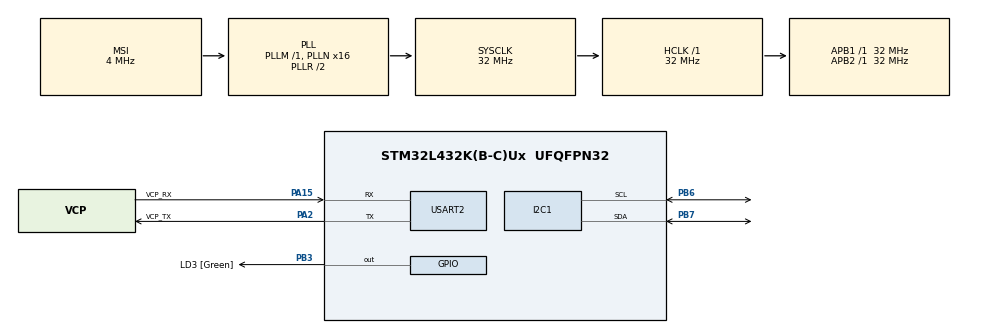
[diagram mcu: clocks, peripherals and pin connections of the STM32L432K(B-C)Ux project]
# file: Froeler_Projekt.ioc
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I2C1.Timing=0x00707CBB
Mcu.Family=STM32L4
Mcu.Name=STM32L432K(B-C)Ux
Mcu.Package=UFQFPN32
NVIC.PriorityGroup=NVIC_PRIORITYGROUP_4
PA0.GPIO_Label=MCO [High speed clock in]
PA0.Mode=HSE-External-Clock-Source-for-LittleOrca
PA0.Signal=RCC_CK_IN
PA13\ (JTMS-SWDIO).GPIO_Label=SWDIO
PA13\ (JTMS-SWDIO).Mode=Serial_Wire
PA13\ (JTMS-SWDIO).Signal=SYS_JTMS-SWDIO
PA14\ (JTCK-SWCLK).GPIO_Label=SWCLK
PA14\ (JTCK-SWCLK).Mode=Serial_Wire
PA14\ (JTCK-SWCLK).Signal=SYS_JTCK-SWCLK
PA15\ (JTDI).GPIO_Label=VCP_RX
PA15\ (JTDI).Mode=Asynchronous
PA15\ (JTDI).Signal=USART2_RX
PA2.GPIO_Label=VCP_TX
PA2.Mode=Asynchronous
PA2.Signal=USART2_TX
PB3\ (JTDO-TRACESWO).GPIO_Label=LD3 [Green]
PB3\ (JTDO-TRACESWO).Signal=GPIO_Output
PB6.Mode=I2C
PB6.Signal=I2C1_SCL
PB7.Mode=I2C
PB7.Signal=I2C1_SDA
PC14-OSC32_IN\ (PC14).Mode=LSE-External-Oscillator
PC14-OSC32_IN\ (PC14).Signal=RCC_OSC32_IN
PC15-OSC32_OUT\ (PC15).Mode=LSE-External-Oscillator
PC15-OSC32_OUT\ (PC15).Signal=RCC_OSC32_OUT
ProjectManager.HeapSize=0x200
ProjectManager.StackSize=0x400
ProjectManager.TargetToolchain=STM32CubeIDE
RCC.AHBFreq_Value=32000000
RCC.APB1Freq_Value=32000000
RCC.APB1TimFreq_Value=32000000
RCC.APB2Freq_Value=32000000
RCC.APB2TimFreq_Value=32000000
RCC.CortexFreq_Value=32000000
RCC.HCLKFreq_Value=32000000
RCC.HSE_VALUE=8000000
RCC.HSI16_VALUE=16000000
RCC.HSI48_VALUE=48000000
RCC.HSI_VALUE=16000000
RCC.MSI_VALUE=4000000
RCC.PLLMUL=RCC_PLLMUL_4
RCC.PLLN=16
RCC.SYSCLKFreq_VALUE=32000000
RCC.SYSCLKSource=RCC_SYSCLKSOURCE_PLLCLK
RCC.VCOOutputFreq_Value=64000000
USART2.VirtualMode-Asynchronous=VM_ASYNC
board=NUCLEO-L432KC

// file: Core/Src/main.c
/* USER CODE BEGIN Header */
/**
  ******************************************************************************
  * @file           : main.c
  * @brief          : Main program body
  ******************************************************************************
  * @attention
  *
  * Froeler Sarah BEL3A
  *
  * This programm retrieves the ambient temperature via I2C port from a MCP908 temperature sensor.
  * It computes all necessary calculations to convert the received data in practical decimal temperatures.
  * It sends the final temperature via UART port to the connected computer.
  * As the program is build to only measure room temperatures, negative temperatures will lead to false values.
  *
  ******************************************************************************
  */
/* USER CODE END Header */
#include "main.h"

/* USER CODE BEGIN Includes */
#include <stdio.h>
#include <string.h>
/* USER CODE END Includes */

I2C_HandleTypeDef hi2c1;

UART_HandleTypeDef huart2;

void SystemClock_Config(void);
static void MX_GPIO_Init(void);
static void MX_USART2_UART_Init(void);
static void MX_I2C1_Init(void);
/* USER CODE BEGIN PFP */
void Receive();
void Convert2Bin(uint8_t data1, uint8_t data2);
void Bin2Dez(int UpperByte[8], int LowerByte[8]);
void sendData(float temp);
/* USER CODE END PFP */

int main(void)
{

  /* MCU Configuration--------------------------------------------------------*/

  /* Reset of all peripherals, Initializes the Flash interface and the Systick. */
  HAL_Init();

  /* Configure the system clock */
  SystemClock_Config();

  /* Initialize all configured peripherals */
  MX_GPIO_Init();
  MX_USART2_UART_Init();
  MX_I2C1_Init();

  /* Infinite loop */
  while (1)
  {

    /* USER CODE BEGIN 3 */

	  Receive();

  }
  /* USER CODE END 3 */
}

void SystemClock_Config(void)
{
  RCC_OscInitTypeDef RCC_OscInitStruct = {0};
  RCC_ClkInitTypeDef RCC_ClkInitStruct = {0};

  /** Configure the main internal regulator output voltage
  */
  if (HAL_PWREx_ControlVoltageScaling(PWR_REGULATOR_VOLTAGE_SCALE1) != HAL_OK)
  {
    Error_Handler();
  }
  /** Configure LSE Drive Capability
  */
  HAL_PWR_EnableBkUpAccess();
  __HAL_RCC_LSEDRIVE_CONFIG(RCC_LSEDRIVE_LOW);
  /** Initializes the RCC Oscillators according to the specified parameters
  * in the RCC_OscInitTypeDef structure.
  */
  RCC_OscInitStruct.OscillatorType = RCC_OSCILLATORTYPE_LSE|RCC_OSCILLATORTYPE_MSI;
  RCC_OscInitStruct.LSEState = RCC_LSE_ON;
  RCC_OscInitStruct.MSIState = RCC_MSI_ON;
  RCC_OscInitStruct.MSICalibrationValue = 0;
  RCC_OscInitStruct.MSIClockRange = RCC_MSIRANGE_6;
  RCC_OscInitStruct.PLL.PLLState = RCC_PLL_ON;
  RCC_OscInitStruct.PLL.PLLSource = RCC_PLLSOURCE_MSI;
  RCC_OscInitStruct.PLL.PLLM = 1;
  RCC_OscInitStruct.PLL.PLLN = 16;
  RCC_OscInitStruct.PLL.PLLP = RCC_PLLP_DIV7;
  RCC_OscInitStruct.PLL.PLLQ = RCC_PLLQ_DIV2;
  RCC_OscInitStruct.PLL.PLLR = RCC_PLLR_DIV2;
  if (HAL_RCC_OscConfig(&RCC_OscInitStruct) != HAL_OK)
  {
    Error_Handler();
  }
  /** Initializes the CPU, AHB and APB buses clocks
  */
  RCC_ClkInitStruct.ClockType = RCC_CLOCKTYPE_HCLK|RCC_CLOCKTYPE_SYSCLK
                              |RCC_CLOCKTYPE_PCLK1|RCC_CLOCKTYPE_PCLK2;
  RCC_ClkInitStruct.SYSCLKSource = RCC_SYSCLKSOURCE_PLLCLK;
  RCC_ClkInitStruct.AHBCLKDivider = RCC_SYSCLK_DIV1;
  RCC_ClkInitStruct.APB1CLKDivider = RCC_HCLK_DIV1;
  RCC_ClkInitStruct.APB2CLKDivider = RCC_HCLK_DIV1;

  if (HAL_RCC_ClockConfig(&RCC_ClkInitStruct, FLASH_LATENCY_1) != HAL_OK)
  {
    Error_Handler();
  }
  /** Enable MSI Auto calibration
  */
  HAL_RCCEx_EnableMSIPLLMode();
}

static void MX_I2C1_Init(void)
{

  hi2c1.Instance = I2C1;
  hi2c1.Init.Timing = 0x00707CBB;
  hi2c1.Init.OwnAddress1 = 0;
  hi2c1.Init.AddressingMode = I2C_ADDRESSINGMODE_7BIT;
  hi2c1.Init.DualAddressMode = I2C_DUALADDRESS_DISABLE;
  hi2c1.Init.OwnAddress2 = 0;
  hi2c1.Init.OwnAddress2Masks = I2C_OA2_NOMASK;
  hi2c1.Init.GeneralCallMode = I2C_GENERALCALL_DISABLE;
  hi2c1.Init.NoStretchMode = I2C_NOSTRETCH_DISABLE;
  if (HAL_I2C_Init(&hi2c1) != HAL_OK)
  {
    Error_Handler();
  }
  /** Configure Analogue filter
  */
  if (HAL_I2CEx_ConfigAnalogFilter(&hi2c1, I2C_ANALOGFILTER_ENABLE) != HAL_OK)
  {
    Error_Handler();
  }
  /** Configure Digital filter
  */
  if (HAL_I2CEx_ConfigDigitalFilter(&hi2c1, 0) != HAL_OK)
  {
    Error_Handler();
  }

}

static void MX_USART2_UART_Init(void)
{

  huart2.Instance = USART2;
  huart2.Init.BaudRate = 115200;
  huart2.Init.WordLength = UART_WORDLENGTH_8B;
  huart2.Init.StopBits = UART_STOPBITS_1;
  huart2.Init.Parity = UART_PARITY_NONE;
  huart2.Init.Mode = UART_MODE_TX_RX;
  huart2.Init.HwFlowCtl = UART_HWCONTROL_NONE;
  huart2.Init.OverSampling = UART_OVERSAMPLING_16;
  huart2.Init.OneBitSampling = UART_ONE_BIT_SAMPLE_DISABLE;
  huart2.AdvancedInit.AdvFeatureInit = UART_ADVFEATURE_NO_INIT;
  if (HAL_UART_Init(&huart2) != HAL_OK)
  {
    Error_Handler();
  }

}

static void MX_GPIO_Init(void)
{
  GPIO_InitTypeDef GPIO_InitStruct = {0};

  /* GPIO Ports Clock Enable */
  __HAL_RCC_GPIOC_CLK_ENABLE();
  __HAL_RCC_GPIOA_CLK_ENABLE();
  __HAL_RCC_GPIOB_CLK_ENABLE();

  /*Configure GPIO pin Output Level */
  HAL_GPIO_WritePin(LD3_GPIO_Port, LD3_Pin, GPIO_PIN_RESET);

  /*Configure GPIO pin : LD3_Pin */
  GPIO_InitStruct.Pin = LD3_Pin;
  GPIO_InitStruct.Mode = GPIO_MODE_OUTPUT_PP;
  GPIO_InitStruct.Pull = GPIO_NOPULL;
  GPIO_InitStruct.Speed = GPIO_SPEED_FREQ_LOW;
  HAL_GPIO_Init(LD3_GPIO_Port, &GPIO_InitStruct);

}

/* USER CODE BEGIN 4 */

/**
  * @brief  Receives the data from the I2C port. 0x18 is the register for the temperature.
  * 		Calls the net function Convert2Bin.
  * @param  None
  * @retval None
  */
 void Receive()
 {
	 HAL_StatusTypeDef ret;
	 uint8_t data[2] = {0, 0};
	 uint8_t *pData = NULL;
	 uint8_t IDRegAdress = 05;
	 pData = &IDRegAdress;

	 ret = HAL_I2C_Master_Transmit(&hi2c1, 0x18<<1, pData, 1, 200000);

	 ret =  HAL_I2C_Master_Receive(&hi2c1, 0x18<<1, &data[0], 2, 200000);

	 if(ret != HAL_OK)
		 Error_Handler();

	 Convert2Bin(data[0], data[1]);
 }

 /**
   * @brief  Converts the received data to a Binary code.
   * 		 Calls the next function Bin2Dez.
   * @param  data1: Contains the data from the upper Bytes in the temperatue-register.
   * @param	 data2: Contains the data from the lower Byte in the temperature-register.
   * @retval None
   */
void Convert2Bin(uint8_t data1, uint8_t data2)
{
	  int UpperByte[8];
	  int LowerByte[8];

	  int buff = data1;

	  for (int i = 0; i < 8; i++)
	  {
		  UpperByte[i] = buff%2;
		  buff = buff/2;
	  }

	  buff = data2;

	  for (int i = 0; i < 8; i++)
	  {
	  	  LowerByte[i] = buff%2;
	  	  buff = buff/2;
	  }

	  Bin2Dez(UpperByte, LowerByte);

}

/**
  * @brief  Computes Calculation to transmute the binary code to a decimal temperature.
  * 		Calls the next function sendData.
  * @param  UpperByte: Contains the data from the upper Byte in the temperature-register in binary code.
  * @param	LowerByte: Contains the data from the lower Byte in the temperature-register in binary code.
  * @retval None
  */
void Bin2Dez(int UpperByte[8], int LowerByte[8])
{
	 float temp1 = 0;
	 float temp2 = 0;

	 temp1 = (UpperByte[0]*1.0 + UpperByte[1]*2.0 + UpperByte[2]*4.0 + UpperByte[3]*8.0)*16.0;

	 temp2 = (LowerByte[0]*1.0 + LowerByte[1]*2.0 + LowerByte[2]*4.0 + LowerByte[3]*8.0 + LowerByte[4]*16.0 + LowerByte[5]*32.0 + LowerByte[6]*64.0 + LowerByte[7]*128.0)/16.0;

	 float temp = temp1 + temp2;

	 sendData(temp);
}

/**
  * @brief  Sends the temperature via UART to a computer. For this the float gets converted into a char.
  * @param  temp: Contains the final decimal temperature.
  * @retval None
  */
void sendData(float temp)
{
	 temp = temp*100;

	 char tempData[10];
	 sprintf(tempData, "%u.%u\n", (unsigned int)temp/100, (unsigned int)temp%100);

	 HAL_UART_Transmit(&huart2, (uint8_t*)&tempData, 6, 10);
	 HAL_Delay(500);
}

/* USER CODE END 4 */

void Error_Handler(void)
{
  __disable_irq();
  while (1)
  {
  }
}

/************************ (C) COPYRIGHT STMicroelectronics *****END OF FILE****/
